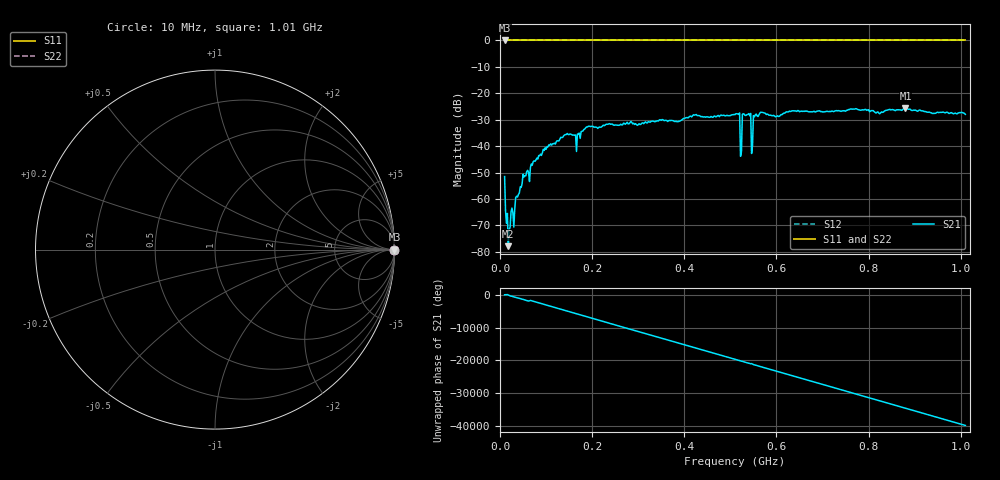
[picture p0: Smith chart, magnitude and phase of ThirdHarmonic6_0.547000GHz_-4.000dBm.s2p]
! 8/15/2025 5:15:24 PM
! C:\ANRITSUVNA\TEMP\TEMP.S2P
! CHANNEL.1
! TR.MEASUREMENT
! RAW.DATA
! RF.CORRECTION.OFF
! AVERAGING.OFF
! IF.BANDWIDTH: 5KHZ
! SWEEPTYPE:  FREQ.SWEEP(Linear)
! Reference Plane Port Info
! PORT:  PORT1  PORT2
! DISTANCE:  0  m  0  m
! TIME:  0  s  0  s
! PHASE.OFFSET:  0  deg.  0  deg.
! LOSS:  0  dB  0  dB
! REF.LOSS:  0  dB  0  dB
! REF.FREQ:  0  Hz  0  Hz
! Power Info
! POWER:  -20  dBm  -20  dBm
! EFF.POWER:  -20  dBm  -20  dBm
! SOURCE.ATTEN:  0  dB  0  dB
! TEST.ATTEN:  0  dB  0  dB
# GHZ S RI R 50.0
! FREQ.GHZ  S11RE  S11IM  S21RE  S21IM  S12RE  S12IM  S22RE  S22IM
!; PortSelection: Port_12
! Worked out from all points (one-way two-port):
!   501 points, 10 MHz to 1.01 GHz, reference 50 ohm
!   highest |S21| = -25.61 dB at 880 MHz (marker M1); lowest = -77.8 dB at 18 MHz (marker M2)
!   lowest |S11| = 0.0 dB at 10 MHz (marker M3)
!   |S11| at or under -10 dB: nowhere
!   |S22| runs from 0.0 to 0.0 dB; largest |S21 - S12| = 1.1
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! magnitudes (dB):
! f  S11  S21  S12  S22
! 10 MHz  0.0  -51.5  0.0  0.0
! 16 MHz  0.0  -65.5  0.0  0.0
! 18 MHz  0.0  -77.8  0.0  0.0
! 48 MHz  0.0  -54.2  0.0  0.0
! 72 MHz  0.0  -45.9  0.0  0.0
! 142 MHz  0.0  -35.6  0.0  0.0
! 178 MHz  0.0  -34.4  0.0  0.0
! 344 MHz  0.0  -30.5  0.0  0.0
! 510 MHz  0.0  -28.1  0.0  0.0
! 516 MHz  0.0  -27.8  0.0  0.0
! 520 MHz  0.0  -27.4  0.0  0.0
! 526 MHz  0.0  -28.0  0.0  0.0
! 530 MHz  0.0  -27.9  0.0  0.0
! 540 MHz  0.0  -27.7  0.0  0.0
! 544 MHz  0.0  -27.6  0.0  0.0
! 550 MHz  0.0  -28.5  0.0  0.0
! 554 MHz  0.0  -28.2  0.0  0.0
! 568 MHz  0.0  -27.2  0.0  0.0
! 678 MHz  0.0  -27.0  0.0  0.0
! 844 MHz  0.0  -26.1  0.0  0.0
! 880 MHz  0.0  -25.6  0.0  0.0
! 1.01 GHz  0.0  -28.0  0.0  0.0
